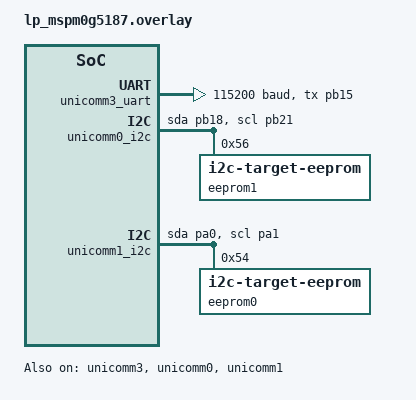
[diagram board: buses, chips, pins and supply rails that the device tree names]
/*
 * Copyright (c) 2026 Texas Instruments Incorporated
 *
 * SPDX-License-Identifier: Apache-2.0
 */

/delete-node/ &unicomm0_uart;

/ {
	aliases {
		/delete-property/ uart0;
	};

	chosen {
		/delete-property/ zephyr,console;
		/delete-property/ zephyr,shell-uart;
		zephyr,console = &unicomm3_uart;
	};
};

/* Initialize new UART for console output */
&unicomm3 {
	status = "okay";
};

&unicomm3_uart {
	status = "okay";
	current-speed = <115200>;
	pinctrl-0 = <&uc3_tx_pb15>;
	pinctrl-names = "default";
};

/* I2C instances for the test */
&unicomm0 {
	status = "okay";
};

&unicomm0_i2c {
	status = "okay";
	pinctrl-0 = <&uc0_sda_pb18 &uc0_scl_pb21>;
	pinctrl-names = "default";
	txfifo-threshold = <5>;

	eeprom1: eeprom@56 {
		compatible = "zephyr,i2c-target-eeprom";
		reg = <0x56>;
		address-width = <8>;
		size = <256>;
	};
};

&unicomm1 {
	status = "okay";
};

&unicomm1_i2c {
	status = "okay";
	pinctrl-0 = <&uc1_sda_pa0 &uc1_scl_pa1>;
	pinctrl-names = "default";

	eeprom0: eeprom@54 {
		compatible = "zephyr,i2c-target-eeprom";
		reg = <0x54>;
		address-width = <8>;
		size = <256>;
	};
};
